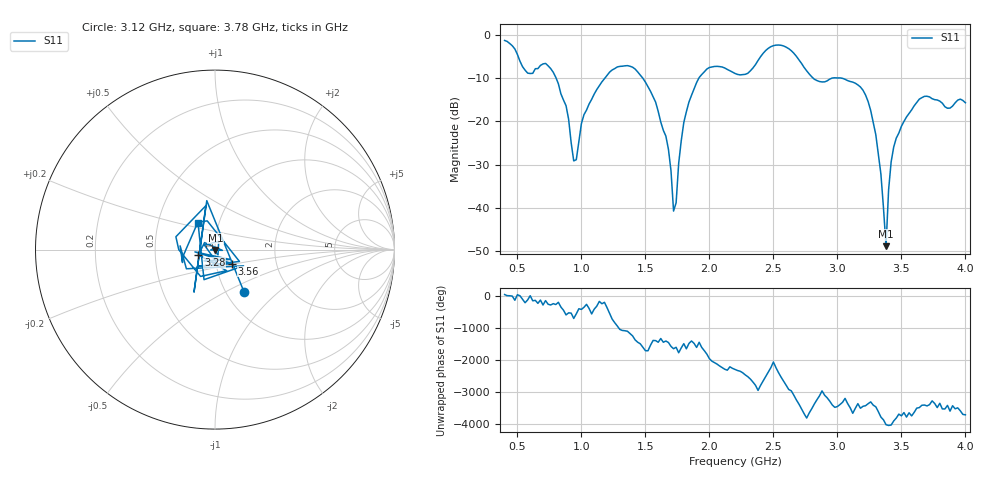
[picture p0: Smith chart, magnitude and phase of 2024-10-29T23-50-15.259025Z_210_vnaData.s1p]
!Created with skrf (http://scikit-rf.org).
# Hz S RI R 50.0
!freq ReS11 ImS11
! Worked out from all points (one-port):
!   181 points, 400 MHz to 4 GHz, reference 50 ohm
!   lowest |S11| = -48.9 dB at 3.38 GHz (marker M1), VSWR 1.01, Z = 50.2 - j0.274 ohm
!   |S11| at or under -10 dB: 802.6 MHz to 1.183 GHz (380.8 MHz wide, 38.3 % of centre); 1.48 GHz to 1.917 GHz (437.6 MHz wide, 25.8 % of centre); 3.034 GHz to end of sweep (the widest 3 of 4)
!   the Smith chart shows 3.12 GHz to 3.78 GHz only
!   S11 on the Smith chart (normalised r, x): 3.12 GHz: 1.21, -0.62; 3.28 GHz: 0.83, -0.05; 3.56 GHz: 1.20, -0.19; 3.78 GHz: 0.79, +0.24
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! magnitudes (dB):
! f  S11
! 400 MHz  -1.3
! 580 MHz  -8.8
! 740 MHz  -7.1
! 860 MHz  -15.1
! 960 MHz  -28.9
! 1.02 GHz  -18.5
! 1.3 GHz  -7.3
! 1.58 GHz  -15.6
! 1.68 GHz  -26.5
! 1.72 GHz  -40.8
! 1.74 GHz  -38.9
! 1.76 GHz  -29.7
! 1.8 GHz  -20.3
! 1.92 GHz  -9.9
! 2.2 GHz  -8.9
! 2.5 GHz  -2.5
! 2.66 GHz  -4.2
! 2.82 GHz  -10.2
! 3.1 GHz  -10.8
! 3.12 GHz  -10.9
! 3.28 GHz  -20.3
! 3.34 GHz  -32.2
! 3.38 GHz  -48.9
! 3.4 GHz  -35.9
! 3.44 GHz  -25.9
! 3.56 GHz  -18.2
! 3.78 GHz  -15.0
! 4 GHz  -15.7
